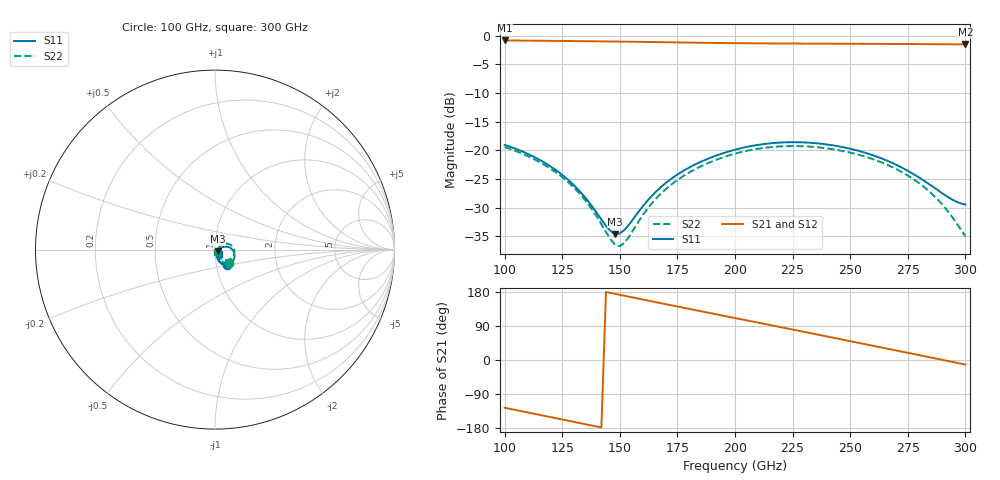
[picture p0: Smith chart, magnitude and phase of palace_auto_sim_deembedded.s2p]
! Created with skrf 1.11.0 (http://scikit-rf.org).
# GHz S DB R 50.0
!freq dBS11 angS11 dBS21 angS21 dBS12 angS12 dBS22 angS22
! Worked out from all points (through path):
!   101 points, 100 GHz to 300 GHz, reference 50 ohm
!   highest |S21| = -0.82 dB at 100 GHz (marker M1); lowest = -1.5 dB at 300 GHz (marker M2)
!   group delay of S21, straight-line fit = 3.41 ps
!   lowest |S11| = -34.6 dB at 148 GHz (marker M3), VSWR 1.04, Z = 51.6 - j1.05 ohm
!   |S11| at or under -10 dB: start of sweep to end of sweep
!   |S22| runs from -36.7 to -19.2 dB; largest |S21 - S12| = 1.5e-14
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100  -19.04 -52.1  -0.82 -125.9  -0.82 -125.9  -19.41 -45.1
110  -20.59 -61.9  -0.85 -138.3  -0.85 -138.3  -20.98 -54.2
120  -22.80 -70.1  -0.89 -150.8  -0.89 -150.8  -23.20 -62.1
128  -25.27 -74.3  -0.92 -160.7  -0.92 -160.7  -25.68 -66.5
134  -27.74 -74.2  -0.94 -168.2  -0.94 -168.2  -28.19 -67.1
138  -29.76 -70.8  -0.96 -173.1  -0.96 -173.1  -30.30 -64.8
144  -33.15 -54.8  -0.99 179.4  -0.99 179.4  -34.22 -51.0
148  -34.56 -32.8  -1.01 174.5  -1.01 174.5  -36.45 -27.8
150  -34.48 -20.1  -1.02 172.0  -1.02 172.0  -36.69 -12.2
152  -33.87 -8.7  -1.03 169.5  -1.03 169.5  -36.14 2.6
162  -28.76 16.5  -1.08 157.1  -1.08 157.1  -30.16 33.7
168  -26.33 18.0  -1.12 149.7  -1.12 149.7  -27.47 35.6
182  -22.58 11.4  -1.20 132.5  -1.20 132.5  -23.43 29.4
200  -19.87 -3.6  -1.30 110.7  -1.30 110.7  -20.56 14.4
218  -18.67 -21.7  -1.35 88.9  -1.35 88.9  -19.34 -3.8
234  -18.70 -38.2  -1.37 69.4  -1.37 69.4  -19.38 -20.3
250  -19.70 -53.3  -1.40 49.7  -1.40 49.7  -20.38 -36.2
268  -22.13 -66.6  -1.43 27.6  -1.43 27.6  -22.86 -52.5
278  -24.25 -69.9  -1.45 15.2  -1.45 15.2  -25.15 -59.6
286  -26.36 -67.6  -1.47 5.3  -1.47 5.3  -27.76 -62.6
292  -28.01 -60.9  -1.49 -2.1  -1.49 -2.1  -30.41 -61.1
300  -29.44 -43.2  -1.52 -12.0  -1.52 -12.0  -34.97 -44.1
